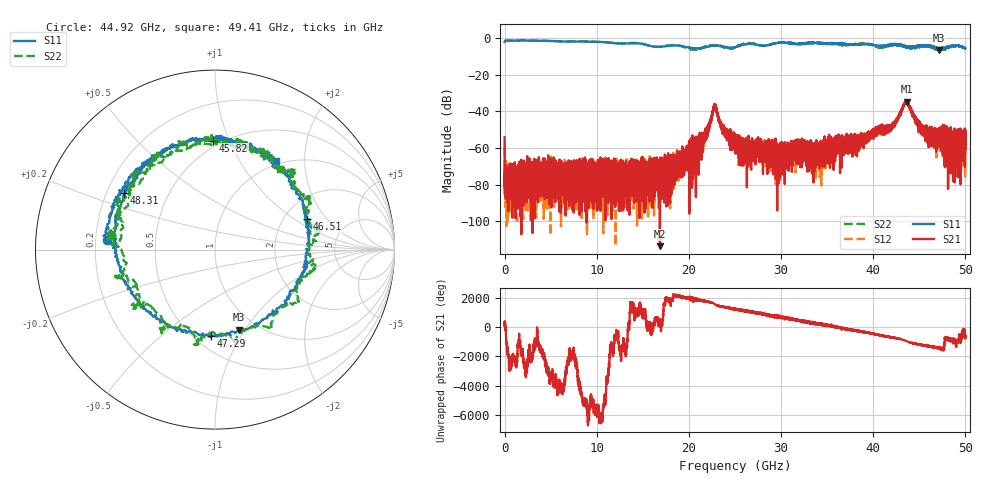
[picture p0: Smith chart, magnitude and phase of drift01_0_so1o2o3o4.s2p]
!Created with skrf (http://scikit-rf.org).
# Hz S RI R 50.0
!freq ReS11 ImS11 ReS21 ImS21 ReS12 ImS12 ReS22 ImS22
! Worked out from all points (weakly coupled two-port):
!   10001 points, 300 kHz to 50 GHz, reference 50 ohm
!   highest |S21| = -34.72 dB at 43.63 GHz (marker M1); lowest = -113.6 dB at 16.86 GHz (marker M2)
!   lowest |S11| = -6.7 dB at 47.17 GHz (marker M3), VSWR 2.74, Z = 41.1 - j46.8 ohm
!   |S11| at or under -10 dB: nowhere
!   |S22| runs from -6.8 to -1.4 dB; largest |S21 - S12| = 0.0036
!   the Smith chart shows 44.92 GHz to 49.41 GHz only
!   S11 on the Smith chart (normalised r, x): 44.92 GHz: 0.25, +0.04; 45.82 GHz: 0.46, +0.87; 46.51 GHz: 2.65, +1.27; 47.29 GHz: 0.60, -0.75; 48.31 GHz: 0.27, +0.27; 49.41 GHz: 0.94, +1.46
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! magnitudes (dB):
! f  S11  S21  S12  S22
! 300 kHz  -2.1  -54.2  -59.5  -2.2
! 255.3 MHz  -1.4  -78.0  -71.8  -1.4
! 8.335 GHz  -2.0  -76.7  -77.5  -1.8
! 16.67 GHz  -4.9  -72.3  -72.8  -4.8
! 16.86 GHz  -4.8  -113.6  -73.3  -4.7
! 20.57 GHz  -5.6  -63.6  -62.3  -6.4
! 21.84 GHz  -5.0  -51.8  -52.2  -4.7
! 22.79 GHz  -4.3  -36.4  -36.5  -3.9
! 23.78 GHz  -4.7  -49.6  -50.5  -5.0
! 25 GHz  -5.0  -54.1  -57.6  -5.1
! 29.64 GHz  -2.7  -65.0  -62.5  -2.5
! 33.34 GHz  -2.6  -61.0  -57.6  -2.7
! 41.67 GHz  -3.9  -50.1  -49.5  -4.3
! 43.63 GHz  -4.7  -34.7  -35.4  -5.4
! 44.92 GHz  -4.4  -47.4  -47.1  -4.7
! 45.82 GHz  -4.4  -52.4  -52.9  -4.5
! 46.51 GHz  -5.4  -54.2  -54.0  -5.1
! 47.17 GHz  -6.7  -56.6  -51.5  -6.5
! 47.29 GHz  -6.4  -53.3  -51.3  -5.9
! 48.31 GHz  -4.5  -52.1  -53.0  -5.3
! 49.41 GHz  -4.4  -63.2  -54.3  -4.8
! 50 GHz  -5.7  -55.7  -57.6  -5.4
